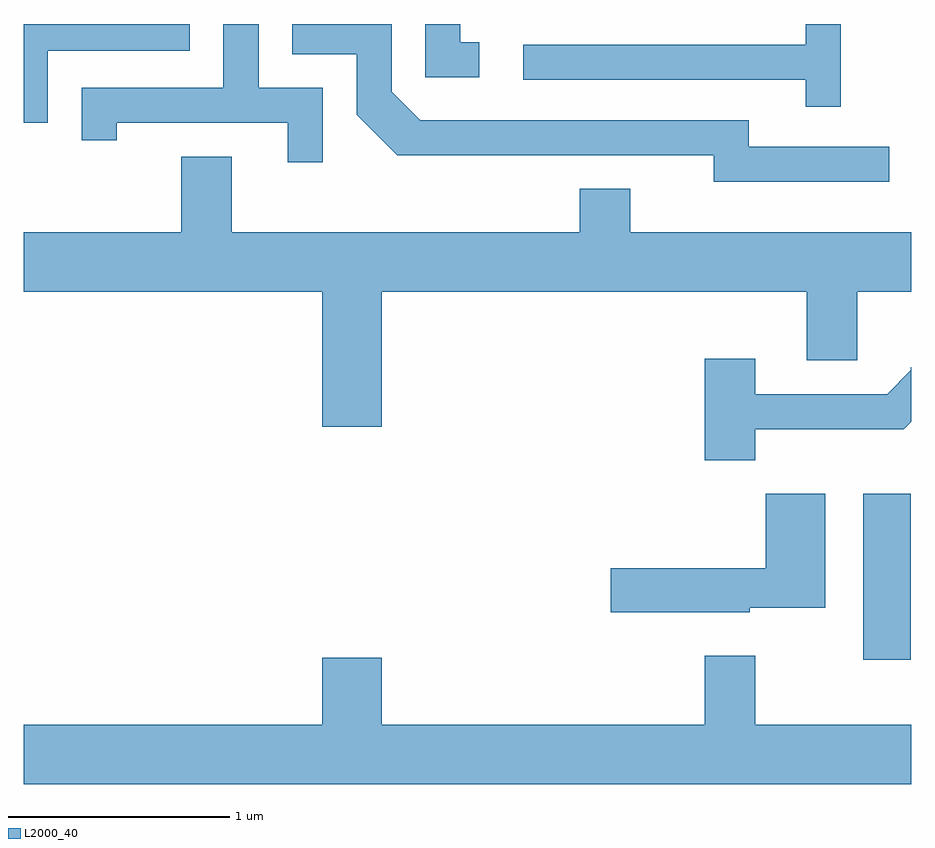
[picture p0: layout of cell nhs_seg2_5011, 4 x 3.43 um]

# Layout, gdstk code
import gdstk
lib = gdstk.Library(unit=1e-6, precision=1e-09)
def R(c, l, rs):  # rectangles x0, y0, x1, y1
    for r in rs: c.add(gdstk.rectangle(r[:2], r[2:], *l))
def P(c, l, *ps):  # polygons
    for p in ps: c.add(gdstk.Polygon(p, *l))
L2000_40 = (2000, 40)

nhs_seg2_5011 = lib.new_cell('nhs_seg2_5011')
R(nhs_seg2_5011, L2000_40, [(337.396,988.936,337.609,989.684)])
P(nhs_seg2_5011, L2000_40, [(337.294,991.802),(337.136,991.802),(337.136,991.709),(335.863,991.709),(335.863,991.551),(337.136,991.551),(337.136,991.428),(337.294,991.428)],
  [(333.719,991.681),(334.359,991.681),(334.359,991.802),(333.611,991.802),(333.611,991.356),(333.719,991.356)],
  [(335.663,991.719),(335.579,991.719),(335.579,991.802),(335.421,991.802),(335.421,991.561),(335.663,991.561)],
  [(334.959,991.514),(334.669,991.514),(334.669,991.802),(334.511,991.802),(334.511,991.514),(333.871,991.514),(333.871,991.278),(334.029,991.278),(334.029,991.356),(334.801,991.356),(334.801,991.178),(334.959,991.178)],
  [(337.513,991.249),(336.879,991.249),(336.879,991.369),(335.397,991.369),(335.269,991.497),(335.269,991.802),(334.821,991.802),(334.821,991.666),(335.111,991.666),(335.111,991.394),(335.294,991.211),(336.721,991.211),(336.721,991.091),(337.513,991.091)],
  [(335.224,990.596),(337.141,990.596),(337.141,990.286),(337.369,990.286),(337.369,990.596),(337.611,990.596),(337.611,990.864),(336.344,990.864),(336.344,991.059),(336.116,991.059),(336.116,990.864),(334.549,990.864),(334.549,991.204),(334.321,991.204),(334.321,990.864),(333.611,990.864),(333.611,990.596),(334.956,990.596),(334.956,989.986),(335.224,989.986)],
  [(336.909,989.976),(337.577,989.976),(337.611,990.01),(337.611,990.254),(337.61,990.254),(337.61,990.241),(337.504,990.134),(336.909,990.134),(336.909,990.294),(336.681,990.294),(336.681,989.836),(336.909,989.836)],
  [(336.884,989.171),(337.224,989.171),(337.224,989.684),(336.956,989.684),(336.956,989.349),(336.256,989.349),(336.256,989.151),(336.884,989.151)],
  [(337.611,988.644),(336.909,988.644),(336.909,988.954),(336.681,988.954),(336.681,988.644),(335.224,988.644),(335.224,988.944),(334.956,988.944),(334.956,988.644),(333.611,988.644),(333.611,988.376),(337.611,988.376)])

lib.write_gds('nhs_seg2_5011.gds')
